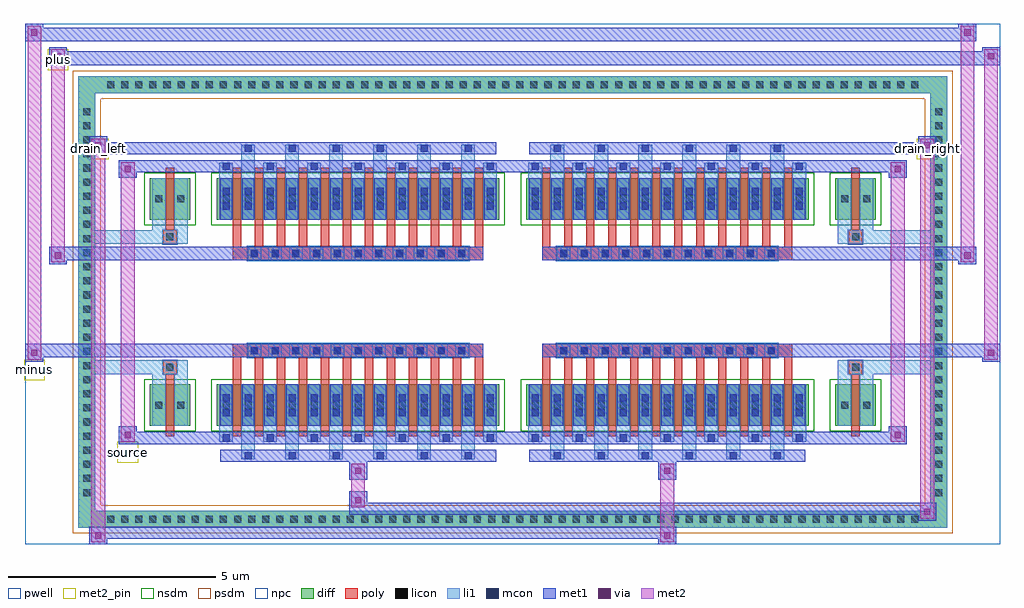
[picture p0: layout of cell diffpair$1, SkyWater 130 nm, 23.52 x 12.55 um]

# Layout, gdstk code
import gdstk
lib = gdstk.Library(unit=1e-6, precision=5e-09)
def R(c, l, rs):  # rectangles x0, y0, x1, y1
    for r in rs: c.add(gdstk.rectangle(r[:2], r[2:], *l))
def A(c, l, x, y, w, h, nx, ny, dx, dy):  # array of equal rectangles
    R(c, l, [(x+i*dx, y+j*dy, x+i*dx+w, y+j*dy+h) for i in range(nx) for j in range(ny)])
def P(c, l, *ps):  # polygons
    for p in ps: c.add(gdstk.Polygon(p, *l))
pwell = (64, 44)
diff = (65, 20)
poly = (66, 20)
licon = (66, 44)
li1 = (67, 20)
mcon = (67, 44)
met1 = (68, 20)
via = (68, 44)
met2_pin = (69, 16)
met2 = (69, 20)
nsdm = (93, 44)
psdm = (94, 20)
npc = (95, 20)

diffpair_1 = lib.new_cell('diffpair$1')
R(diffpair_1, pwell, [(-11.74,-5.84,11.74,6.71), (-9.06,-4.03,-0.01,-0.805), (0.01,-4.03,9.06,-0.805), (-9.06,0.805,-0.01,4.03), (0.01,0.805,9.06,4.03)])
A(diffpair_1, diff, -9.895, -5.44, 0.41, 0.41, 58, 2, 0.34, 10.47)
A(diffpair_1, diff, -10.47, -4.795, 0.41, 0.41, 1, 28, 0, 0.34)
A(diffpair_1, diff, 10.06, -4.795, 0.41, 0.41, 1, 28, 0, 0.34)
R(diffpair_1, diff, [(-9.895,-5.44,9.895,-5.03), (-10.47,-4.795,-10.06,4.795), (10.06,-4.795,10.47,4.795), (-8.75,-2.985,-7.77,-1.985), (-7.13,-2.985,-0.32,-1.985), (0.32,-2.985,7.13,-1.985), (7.77,-2.985,8.75,-1.985), (-8.75,1.985,-7.77,2.985), (-7.13,1.985,-0.32,2.985), (0.32,1.985,7.13,2.985), (7.77,1.985,8.75,2.985), (-9.895,5.03,9.895,5.44)])
P(diffpair_1, diff, [(10.47,5.44),(-10.47,5.44),(-10.47,-5.03),(-10.06,-5.03),(-10.06,5.03),(10.06,5.03),(10.06,-5.03),(-10.06,-5.03),(-10.47,-5.03),(-10.47,-5.44),(10.47,-5.44)])
A(diffpair_1, poly, -6.74, -3.235, 0.2, 1.5, 12, 2, 0.53, 4.97)
A(diffpair_1, poly, 0.71, -3.235, 0.2, 1.5, 12, 2, 0.53, 4.97)
A(diffpair_1, poly, -6.74, -1.735, 0.2, 0.4, 12, 2, 0.53, 3.07)
A(diffpair_1, poly, 0.71, -1.735, 0.2, 0.4, 12, 2, 0.53, 3.07)
A(diffpair_1, poly, -6.39, -1.335, 0.33, 0.33, 11, 2, 0.5, 2.34)
A(diffpair_1, poly, 1.06, -1.335, 0.33, 0.33, 11, 2, 0.5, 2.34)
R(diffpair_1, poly, [(-8.36,-3.235,-8.16,-1.735), (8.16,-3.235,8.36,-1.735), (-8.425,-1.735,-8.095,-1.405), (-8.425,-1.735,-8.095,-1.405), (8.095,-1.735,8.425,-1.405), (8.095,-1.735,8.425,-1.405), (-6.74,-1.335,-0.71,-1.005), (0.71,-1.335,6.74,-1.005), (-6.74,1.005,-0.71,1.335), (0.71,1.005,6.74,1.335), (-8.425,1.405,-8.095,1.735), (-8.425,1.405,-8.095,1.735), (8.095,1.405,8.425,1.735), (8.095,1.405,8.425,1.735), (-8.36,1.735,-8.16,3.235), (8.16,1.735,8.36,3.235)])
A(diffpair_1, licon, -9.775, -5.32, 0.17, 0.17, 58, 2, 0.34, 10.47)
A(diffpair_1, licon, -10.35, -4.675, 0.17, 0.17, 1, 28, 0, 0.34)
A(diffpair_1, licon, 10.18, -4.675, 0.17, 0.17, 1, 28, 0, 0.34)
A(diffpair_1, licon, -6.99, -2.57, 0.17, 0.17, 13, 2, 0.53, 4.97)
A(diffpair_1, licon, 0.46, -2.57, 0.17, 0.17, 13, 2, 0.53, 4.97)
A(diffpair_1, licon, -6.31, -1.255, 0.17, 0.17, 11, 2, 0.5, 2.34)
A(diffpair_1, licon, 1.14, -1.255, 0.17, 0.17, 11, 2, 0.5, 2.34)
R(diffpair_1, licon, [(-8.61,-2.57,-8.44,-2.4), (-8.08,-2.57,-7.91,-2.4), (7.91,-2.57,8.08,-2.4), (8.44,-2.57,8.61,-2.4), (-8.345,-1.655,-8.175,-1.485), (8.175,-1.655,8.345,-1.485), (-8.345,1.485,-8.175,1.655), (8.175,1.485,8.345,1.655), (-8.61,2.4,-8.44,2.57), (-8.08,2.4,-7.91,2.57), (7.91,2.4,8.08,2.57), (8.44,2.4,8.61,2.57)])
A(diffpair_1, li1, -9.855, -5.4, 0.33, 0.33, 58, 2, 0.34, 10.47)
A(diffpair_1, li1, -10.43, -4.755, 0.33, 0.33, 1, 28, 0, 0.34)
A(diffpair_1, li1, 10.1, -4.755, 0.33, 0.33, 1, 28, 0, 0.34)
A(diffpair_1, li1, -6.54, -3.79, 0.33, 0.805, 6, 2, 1.06, 6.775)
A(diffpair_1, li1, -6.46, -3.79, 0.17, 0.17, 6, 2, 1.06, 7.41)
A(diffpair_1, li1, 0.91, -3.79, 0.33, 0.805, 6, 2, 1.06, 6.775)
A(diffpair_1, li1, 0.99, -3.79, 0.17, 0.17, 6, 2, 1.06, 7.41)
A(diffpair_1, li1, -7.07, -3.36, 0.33, 0.375, 7, 2, 1.06, 6.345)
A(diffpair_1, li1, -6.99, -3.36, 0.17, 0.17, 7, 2, 1.06, 6.55)
A(diffpair_1, li1, 0.38, -3.36, 0.33, 0.375, 7, 2, 1.06, 6.345)
A(diffpair_1, li1, 0.46, -3.36, 0.17, 0.17, 7, 2, 1.06, 6.55)
A(diffpair_1, li1, -7.07, -2.985, 0.33, 1, 13, 2, 0.53, 4.97)
A(diffpair_1, li1, 0.38, -2.985, 0.33, 1, 13, 2, 0.53, 4.97)
A(diffpair_1, li1, -6.99, -2.75, 0.17, 0.17, 13, 2, 0.53, 0.36)
A(diffpair_1, li1, -6.99, -2.75, 0.17, 0.53, 13, 2, 0.53, 4.97)
A(diffpair_1, li1, 0.46, -2.75, 0.17, 0.17, 13, 2, 0.53, 0.36)
A(diffpair_1, li1, 0.46, -2.75, 0.17, 0.53, 13, 2, 0.53, 4.97)
A(diffpair_1, li1, -7.07, -2.65, 0.33, 0.33, 13, 2, 0.53, 4.97)
A(diffpair_1, li1, 0.38, -2.65, 0.33, 0.33, 13, 2, 0.53, 4.97)
A(diffpair_1, li1, -6.39, -1.335, 0.33, 0.33, 11, 2, 0.5, 2.34)
A(diffpair_1, li1, 1.06, -1.335, 0.33, 0.33, 11, 2, 0.5, 2.34)
A(diffpair_1, li1, -6.99, 2.22, 0.17, 0.17, 13, 2, 0.53, 0.36)
A(diffpair_1, li1, 0.46, 2.22, 0.17, 0.17, 13, 2, 0.53, 0.36)
R(diffpair_1, li1, [(-10.47,-5.44,-10.06,-5.03), (-10.47,-5.44,-10.06,-5.03), (-10.06,-5.44,10.06,-5.03), (10.06,-5.44,10.47,-5.03), (10.06,-5.44,10.47,-5.03), (-10.47,-5.03,-10.06,5.03), (10.06,-5.03,10.47,5.03), (-8.69,-2.985,-8.36,-1.985), (-8.16,-2.985,-7.83,-1.985), (7.83,-2.985,8.16,-1.985), (8.36,-2.985,8.69,-1.985), (-8.69,-2.65,-8.36,-2.32), (-8.16,-2.65,-7.83,-2.32), (7.83,-2.65,8.16,-2.32), (8.36,-2.65,8.69,-2.32), (-8.69,-1.985,-8.36,-1.405), (-8.16,-1.985,-7.83,-1.405), (7.83,-1.985,8.16,-1.405), (8.36,-1.985,8.69,-1.405), (-10.47,-1.735,-8.425,-1.405), (-8.69,-1.735,-8.425,-1.405), (-8.425,-1.735,-8.095,-1.405), (-8.095,-1.735,-7.83,-1.405), (7.83,-1.735,8.095,-1.405), (8.095,-1.735,8.425,-1.405), (8.095,-1.735,10.47,-1.405), (8.425,-1.735,8.69,-1.405), (-10.47,1.405,-8.425,1.735), (-8.69,1.405,-8.425,1.735), (-8.69,1.405,-8.36,1.985), (-8.425,1.405,-8.095,1.735), (-8.16,1.405,-7.83,1.985), (-8.095,1.405,-7.83,1.735), (7.83,1.405,8.095,1.735), (7.83,1.405,8.16,1.985), (8.095,1.405,8.425,1.735), (8.095,1.405,10.47,1.735), (8.36,1.405,8.69,1.985), (8.425,1.405,8.69,1.735), (-8.69,1.985,-8.36,2.985), (-8.16,1.985,-7.83,2.985), (7.83,1.985,8.16,2.985), (8.36,1.985,8.69,2.985), (-8.69,2.32,-8.36,2.65), (-8.16,2.32,-7.83,2.65), (7.83,2.32,8.16,2.65), (8.36,2.32,8.69,2.65), (-10.47,5.03,-10.06,5.44), (-10.47,5.03,-10.06,5.44), (-10.06,5.03,10.06,5.44), (10.06,5.03,10.47,5.44), (10.06,5.03,10.47,5.44)])
A(diffpair_1, mcon, -6.46, -3.79, 0.17, 0.17, 6, 2, 1.06, 7.41)
A(diffpair_1, mcon, 0.99, -3.79, 0.17, 0.17, 6, 2, 1.06, 7.41)
A(diffpair_1, mcon, -6.99, -3.36, 0.17, 0.17, 7, 2, 1.06, 6.55)
A(diffpair_1, mcon, 0.46, -3.36, 0.17, 0.17, 7, 2, 1.06, 6.55)
A(diffpair_1, mcon, -6.99, -2.75, 0.17, 0.17, 13, 2, 0.53, 0.36)
A(diffpair_1, mcon, 0.46, -2.75, 0.17, 0.17, 13, 2, 0.53, 0.36)
A(diffpair_1, mcon, -6.31, -1.255, 0.17, 0.17, 11, 2, 0.5, 2.34)
A(diffpair_1, mcon, 1.14, -1.255, 0.17, 0.17, 11, 2, 0.5, 2.34)
A(diffpair_1, mcon, -6.99, 2.22, 0.17, 0.17, 13, 2, 0.53, 0.36)
A(diffpair_1, mcon, 0.46, 2.22, 0.17, 0.17, 13, 2, 0.53, 0.36)
A(diffpair_1, met1, -6.52, -3.85, 0.29, 0.29, 6, 2, 1.06, 7.41)
A(diffpair_1, met1, 0.93, -3.85, 0.29, 0.29, 6, 2, 1.06, 7.41)
A(diffpair_1, met1, -7.05, -3.42, 0.29, 0.29, 7, 2, 1.06, 6.55)
A(diffpair_1, met1, 0.4, -3.42, 0.29, 0.29, 7, 2, 1.06, 6.55)
A(diffpair_1, met1, -7.05, -2.985, 0.29, 1, 13, 2, 0.53, 4.97)
A(diffpair_1, met1, 0.4, -2.985, 0.29, 1, 13, 2, 0.53, 4.97)
A(diffpair_1, met1, -7.05, -2.81, 0.29, 0.29, 13, 2, 0.53, 0.36)
A(diffpair_1, met1, 0.4, -2.81, 0.29, 0.29, 13, 2, 0.53, 0.36)
A(diffpair_1, met1, -6.37, -1.315, 0.29, 0.29, 11, 2, 0.5, 2.34)
A(diffpair_1, met1, 1.08, -1.315, 0.29, 0.29, 11, 2, 0.5, 2.34)
A(diffpair_1, met1, -7.05, 2.16, 0.29, 0.29, 13, 2, 0.53, 0.36)
A(diffpair_1, met1, 0.4, 2.16, 0.29, 0.29, 13, 2, 0.53, 0.36)
R(diffpair_1, met1, [(-10.2,-5.84,-9.77,-5.41), (3.51,-5.84,3.94,-5.41), (-10.2,-5.7,3.94,-5.41), (9.77,-5.27,10.2,-4.84), (-3.94,-5.13,10.2,-4.84), (-3.94,-4.99,-3.51,-4.56), (-3.94,-4.28,-3.51,-3.85), (3.51,-4.28,3.94,-3.85), (-7.05,-3.85,-0.4,-3.56), (0.4,-3.85,7.05,-3.56), (-9.49,-3.42,-9.06,-2.99), (-9.49,-3.42,-7.05,-3.13), (-7.05,-3.42,-0.4,-3.13), (-0.4,-3.42,0.4,-3.13), (0.4,-3.42,7.05,-3.13), (7.05,-3.42,9.49,-3.13), (9.06,-3.42,9.49,-2.99), (-11.74,-1.435,-11.31,-1.005), (11.31,-1.435,11.74,-1.005), (-11.74,-1.335,-0.71,-1.005), (-6.74,-1.335,-0.71,-1.005), (0.71,-1.335,6.74,-1.005), (0.71,-1.335,11.74,-1.005), (-11.17,0.905,-10.74,1.335), (10.74,0.905,11.17,1.335), (-11.17,1.005,-6.74,1.335), (-6.74,1.005,-0.71,1.335), (0.71,1.005,6.74,1.335), (6.74,1.005,11.17,1.335), (-9.49,2.99,-9.06,3.42), (9.06,2.99,9.49,3.42), (-9.49,3.13,-7.05,3.42), (-7.05,3.13,-0.4,3.42), (-0.4,3.13,0.4,3.42), (0.4,3.13,7.05,3.42), (7.05,3.13,9.49,3.42), (-10.2,3.56,-9.77,3.99), (-10.2,3.56,-7.05,3.85), (-7.05,3.56,-0.4,3.85), (0.4,3.56,7.05,3.85), (7.05,3.56,10.2,3.85), (9.77,3.56,10.2,3.99), (-11.17,5.71,-10.74,6.14), (-11.17,5.71,-9.06,6.04), (-9.06,5.71,9.06,6.04), (9.06,5.71,11.74,6.04), (11.31,5.71,11.74,6.14), (-11.74,6.28,-11.31,6.71), (-11.74,6.28,-9.06,6.61), (-9.06,6.28,9.06,6.61), (9.06,6.28,11.17,6.61), (10.74,6.28,11.17,6.71)])
R(diffpair_1, via, [(-10.06,-5.7,-9.91,-5.55), (3.65,-5.7,3.8,-5.55), (9.91,-5.13,10.06,-4.98), (-3.8,-4.85,-3.65,-4.7), (-3.8,-4.14,-3.65,-3.99), (3.65,-4.14,3.8,-3.99), (-9.35,-3.28,-9.2,-3.13), (9.2,-3.28,9.35,-3.13), (-11.6,-1.295,-11.45,-1.145), (11.45,-1.295,11.6,-1.145), (-11.03,1.045,-10.88,1.195), (10.88,1.045,11.03,1.195), (-9.35,3.13,-9.2,3.28), (9.2,3.13,9.35,3.28), (-10.06,3.7,-9.91,3.85), (9.91,3.7,10.06,3.85), (-11.03,5.85,-10.88,6), (11.45,5.85,11.6,6), (-11.6,6.42,-11.45,6.57), (10.88,6.42,11.03,6.57)])
R(diffpair_1, met2_pin, [(-9.525,-3.87,-9.025,-3.37), (-11.775,-1.885,-11.275,-1.385), (-10.235,3.44,-9.735,3.94), (9.735,3.44,10.235,3.94), (-11.205,5.59,-10.705,6.09)])
R(diffpair_1, met2, [(-10.15,-5.79,-9.82,-5.46), (-10.15,-5.79,-9.82,3.94), (3.56,-5.79,3.89,-5.46), (3.56,-5.46,3.89,-4.23), (9.82,-5.22,10.15,-4.89), (9.82,-5.22,10.15,3.94), (-3.89,-4.94,-3.56,-4.61), (-3.89,-4.61,-3.56,-4.23), (-3.89,-4.23,-3.56,-3.9), (3.56,-4.23,3.89,-3.9), (-9.44,-3.37,-9.11,-3.04), (-9.44,-3.37,-9.11,3.37), (9.11,-3.37,9.44,-3.04), (9.11,-3.37,9.44,3.37), (-11.69,-1.385,-11.36,-1.055), (-11.69,-1.385,-11.36,6.66), (11.36,-1.385,11.69,-1.055), (11.36,-1.385,11.69,6.09), (-11.12,0.955,-10.79,1.285), (-11.12,0.955,-10.79,6.09), (10.79,0.955,11.12,1.285), (10.79,0.955,11.12,6.66), (-9.44,3.04,-9.11,3.37), (9.11,3.04,9.44,3.37), (-10.15,3.61,-9.82,3.94), (9.82,3.61,10.15,3.94), (-11.12,5.76,-10.79,6.09), (11.36,5.76,11.69,6.09), (-11.69,6.33,-11.36,6.66), (10.79,6.33,11.12,6.66)])
P(diffpair_1, met2, [(11.69,-1.385),(11.69,-1.385),(11.69,-1.055),(11.69,-1.055)],
  [(11.69,5.76),(11.69,5.76),(11.69,6.09),(11.69,6.09)],
  [(-11.36,-1.385),(-11.36,-1.385),(-11.36,-1.055),(-11.36,-1.055)],
  [(-11.36,6.33),(-11.36,6.33),(-11.36,6.66),(-11.36,6.66)],
  [(11.12,0.955),(11.12,0.955),(11.12,1.285),(11.12,1.285)],
  [(11.12,6.33),(11.12,6.33),(11.12,6.66),(11.12,6.66)],
  [(-10.79,0.955),(-10.79,0.955),(-10.79,1.285),(-10.79,1.285)],
  [(-10.79,5.76),(-10.79,5.76),(-10.79,6.09),(-10.79,6.09)],
  [(-9.82,-5.79),(-9.82,-5.79),(-9.82,-5.46),(-9.82,-5.46)],
  [(-9.82,3.61),(-9.82,3.61),(-9.82,3.94),(-9.82,3.94)],
  [(10.15,-5.22),(10.15,-5.22),(10.15,-4.89),(10.15,-4.89)],
  [(10.15,3.61),(10.15,3.61),(10.15,3.94),(10.15,3.94)],
  [(-9.11,-3.37),(-9.11,-3.37),(-9.11,-3.04),(-9.11,-3.04)],
  [(-9.11,3.04),(-9.11,3.04),(-9.11,3.37),(-9.11,3.37)],
  [(9.44,-3.37),(9.44,-3.37),(9.44,-3.04),(9.44,-3.04)],
  [(9.44,3.04),(9.44,3.04),(9.44,3.37),(9.44,3.37)])
R(diffpair_1, nsdm, [(-8.88,-3.115,-7.64,-1.855), (-7.26,-3.115,-0.19,-1.855), (0.19,-3.115,7.26,-1.855), (7.64,-3.115,8.88,-1.855), (-8.88,1.855,-7.64,3.115), (-7.26,1.855,-0.19,3.115), (0.19,1.855,7.26,3.115), (7.64,1.855,8.88,3.115)])
P(diffpair_1, psdm, [(10.6,5.57),(-10.6,5.57),(-10.6,-4.9),(-9.93,-4.9),(-9.93,4.9),(9.93,4.9),(9.93,-4.9),(-9.93,-4.9),(-10.6,-4.9),(-10.6,-5.57),(10.6,-5.57)])
A(diffpair_1, npc, -6.41, -1.355, 0.37, 0.37, 11, 2, 0.5, 2.34)
A(diffpair_1, npc, 1.04, -1.355, 0.37, 0.37, 11, 2, 0.5, 2.34)
R(diffpair_1, npc, [(-8.445,-1.755,-8.075,-1.385), (8.075,-1.755,8.445,-1.385), (-6.41,-1.355,-5.54,-0.985), (-6.41,-1.355,-5.54,-0.985), (-5.91,-1.355,-5.04,-0.985), (-5.91,-1.355,-5.04,-0.985), (-5.41,-1.355,-4.54,-0.985), (-5.41,-1.355,-4.54,-0.985), (-4.91,-1.355,-4.04,-0.985), (-4.91,-1.355,-4.04,-0.985), (-4.41,-1.355,-3.54,-0.985), (-4.41,-1.355,-3.54,-0.985), (-3.91,-1.355,-3.04,-0.985), (-3.91,-1.355,-3.04,-0.985), (-3.41,-1.355,-2.54,-0.985), (-3.41,-1.355,-2.54,-0.985), (-2.91,-1.355,-2.04,-0.985), (-2.91,-1.355,-2.04,-0.985), (-2.41,-1.355,-1.54,-0.985), (-2.41,-1.355,-1.54,-0.985), (-1.91,-1.355,-1.04,-0.985), (-1.91,-1.355,-1.04,-0.985), (1.04,-1.355,1.91,-0.985), (1.04,-1.355,1.91,-0.985), (1.54,-1.355,2.41,-0.985), (1.54,-1.355,2.41,-0.985), (2.04,-1.355,2.91,-0.985), (2.04,-1.355,2.91,-0.985), (2.54,-1.355,3.41,-0.985), (2.54,-1.355,3.41,-0.985), (3.04,-1.355,3.91,-0.985), (3.04,-1.355,3.91,-0.985), (3.54,-1.355,4.41,-0.985), (3.54,-1.355,4.41,-0.985), (4.04,-1.355,4.91,-0.985), (4.04,-1.355,4.91,-0.985), (4.54,-1.355,5.41,-0.985), (4.54,-1.355,5.41,-0.985), (5.04,-1.355,5.91,-0.985), (5.04,-1.355,5.91,-0.985), (5.54,-1.355,6.41,-0.985), (5.54,-1.355,6.41,-0.985), (-6.41,0.985,-5.54,1.355), (-6.41,0.985,-5.54,1.355), (-5.91,0.985,-5.04,1.355), (-5.91,0.985,-5.04,1.355), (-5.41,0.985,-4.54,1.355), (-5.41,0.985,-4.54,1.355), (-4.91,0.985,-4.04,1.355), (-4.91,0.985,-4.04,1.355), (-4.41,0.985,-3.54,1.355), (-4.41,0.985,-3.54,1.355), (-3.91,0.985,-3.04,1.355), (-3.91,0.985,-3.04,1.355), (-3.41,0.985,-2.54,1.355), (-3.41,0.985,-2.54,1.355), (-2.91,0.985,-2.04,1.355), (-2.91,0.985,-2.04,1.355), (-2.41,0.985,-1.54,1.355), (-2.41,0.985,-1.54,1.355), (-1.91,0.985,-1.04,1.355), (-1.91,0.985,-1.04,1.355), (1.04,0.985,1.91,1.355), (1.04,0.985,1.91,1.355), (1.54,0.985,2.41,1.355), (1.54,0.985,2.41,1.355), (2.04,0.985,2.91,1.355), (2.04,0.985,2.91,1.355), (2.54,0.985,3.41,1.355), (2.54,0.985,3.41,1.355), (3.04,0.985,3.91,1.355), (3.04,0.985,3.91,1.355), (3.54,0.985,4.41,1.355), (3.54,0.985,4.41,1.355), (4.04,0.985,4.91,1.355), (4.04,0.985,4.91,1.355), (4.54,0.985,5.41,1.355), (4.54,0.985,5.41,1.355), (5.04,0.985,5.91,1.355), (5.04,0.985,5.91,1.355), (5.54,0.985,6.41,1.355), (5.54,0.985,6.41,1.355), (-8.445,1.385,-8.075,1.755), (8.075,1.385,8.445,1.755)])
diffpair_1.add(gdstk.Label('minus', (-11.525,-1.635), layer=69, texttype=5))
diffpair_1.add(gdstk.Label('drain_right', (9.985,3.69), layer=69, texttype=5))
diffpair_1.add(gdstk.Label('drain_left', (-9.985,3.69), layer=69, texttype=5))
diffpair_1.add(gdstk.Label('source', (-9.275,-3.62), layer=69, texttype=5))
diffpair_1.add(gdstk.Label('plus', (-10.955,5.84), layer=69, texttype=5))

lib.write_gds('diffpair_1.gds')
